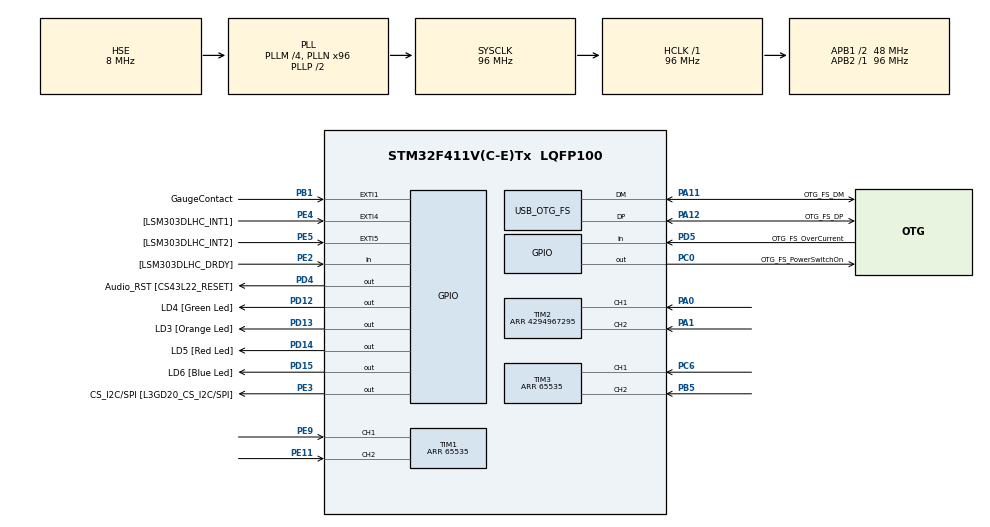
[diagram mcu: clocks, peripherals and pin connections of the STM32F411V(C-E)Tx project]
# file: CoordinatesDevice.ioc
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Mcu.Family=STM32F4
Mcu.Name=STM32F411V(C-E)Tx
Mcu.Package=LQFP100
NVIC.EXTI1_IRQn=true\:0\:0\:false\:false\:true
NVIC.OTG_FS_IRQn=true\:0\:0\:false\:false\:true
NVIC.PriorityGroup=NVIC_PRIORITYGROUP_4
NVIC.TIM1_UP_TIM10_IRQn=true\:0\:0\:false\:false\:true
PA0-WKUP.Signal=S_TIM2_CH1_ETR
PA1.Signal=S_TIM2_CH2
PA10.GPIO_Label=OTG_FS_ID
PA10.Signal=USB_OTG_FS_ID
PA11.GPIO_Label=OTG_FS_DM
PA11.Mode=Device_Only
PA11.Signal=USB_OTG_FS_DM
PA12.GPIO_Label=OTG_FS_DP
PA12.Mode=Device_Only
PA12.Signal=USB_OTG_FS_DP
PA13.GPIO_Label=SWDIO
PA13.Mode=Serial-Wire
PA13.Signal=SYS_JTMS-SWDIO
PA14.GPIO_Label=SWCLK
PA14.Mode=Serial-Wire
PA14.Signal=SYS_JTCK-SWCLK
PA4.GPIO_Label=I2S3_WS [CS43L22_LRCK]
PA4.GPIO_Mode=GPIO_MODE_AF_PP
PA4.GPIO_PuPd=GPIO_NOPULL
PA4.GPIO_Speed=GPIO_SPEED_FREQ_LOW
PA4.Signal=I2S3_WS
PA5.GPIO_Label=SPI1_SCK [L3GD20_SC/SPC]
PA5.Signal=SPI1_SCK
PA6.GPIO_Label=SPI1_MISO [L3GD20_AS0/SDO]
PA6.Signal=SPI1_MISO
PA7.GPIO_Label=SPI1_MOSI [L3GD20_SDA/SDI/SDO]
PA7.Signal=SPI1_MOSI
PA9.GPIO_Label=VBUS_FS
PA9.Signal=USB_OTG_FS_VBUS
PB1.GPIO_Label=GaugeContact
PB1.GPIO_ModeDefaultEXTI=GPIO_MODE_IT_RISING_FALLING
PB1.GPIO_PuPd=GPIO_PULLDOWN
PB1.Signal=GPXTI1
PB10.GPIO_Label=CLK_IN [MP45DT02_CLK]
PB10.Signal=I2S2_CK
PB12.Signal=I2S2_WS
PB3.GPIO_Label=SWO
PB3.Signal=SYS_JTDO-SWO
PB5.Signal=S_TIM3_CH2
PB6.GPIO_Label=Audio_SCL [CS43L22_SCL]
PB6.GPIO_Mode=GPIO_MODE_AF_OD
PB6.GPIO_PuPd=GPIO_NOPULL
PB6.GPIO_Speed=GPIO_SPEED_FREQ_LOW
PB6.Signal=I2C1_SCL
PB9.GPIO_Label=Audio_SDA [CS43L22_SDA]
PB9.GPIO_Mode=GPIO_MODE_AF_OD
PB9.GPIO_PuPd=GPIO_NOPULL
PB9.GPIO_Speed=GPIO_SPEED_FREQ_LOW
PB9.Signal=I2C1_SDA
PC0.GPIO_Label=OTG_FS_PowerSwitchOn
PC0.Signal=GPIO_Output
PC10.GPIO_Label=I2S3_SCK [CS43L22_SCLK]
PC10.GPIO_Mode=GPIO_MODE_AF_PP
PC10.GPIO_PuPd=GPIO_NOPULL
PC10.GPIO_Speed=GPIO_SPEED_FREQ_LOW
PC10.Signal=I2S3_CK
PC12.GPIO_Label=I2S3_SD [CS43L22_SDIN]
PC12.GPIO_Mode=GPIO_MODE_AF_PP
PC12.GPIO_PuPd=GPIO_NOPULL
PC12.GPIO_Speed=GPIO_SPEED_FREQ_LOW
PC12.Signal=I2S3_SD
PC14-OSC32_IN.GPIO_Label=PC14-OSC32_IN
PC14-OSC32_IN.Signal=RCC_OSC32_IN
PC15-OSC32_OUT.GPIO_Label=PC15-OSC32_OUT
PC15-OSC32_OUT.Signal=RCC_OSC32_OUT
PC3.GPIO_Label=PDM_OUT [MP45DT02_DOUT]
PC3.Signal=I2S2_SD
PC6.Signal=S_TIM3_CH1
PC7.GPIO_Label=I2S3_MCK [CS43L22_MCLK]
PC7.GPIO_Mode=GPIO_MODE_AF_PP
PC7.GPIO_PuPd=GPIO_NOPULL
PC7.GPIO_Speed=GPIO_SPEED_FREQ_LOW
PC7.Signal=I2S3_MCK
PD12.GPIO_Label=LD4 [Green Led]
PD12.GPIO_PuPd=GPIO_NOPULL
PD12.GPIO_Speed=GPIO_SPEED_FREQ_LOW
PD12.Signal=GPIO_Output
PD13.GPIO_Label=LD3 [Orange Led]
PD13.GPIO_PuPd=GPIO_NOPULL
PD13.GPIO_Speed=GPIO_SPEED_FREQ_LOW
PD13.Signal=GPIO_Output
PD14.GPIO_Label=LD5 [Red Led]
PD14.GPIO_PuPd=GPIO_NOPULL
PD14.GPIO_Speed=GPIO_SPEED_FREQ_LOW
PD14.Signal=GPIO_Output
PD15.GPIO_Label=LD6 [Blue Led]
PD15.GPIO_PuPd=GPIO_NOPULL
PD15.GPIO_Speed=GPIO_SPEED_FREQ_LOW
PD15.Signal=GPIO_Output
PD4.GPIO_Label=Audio_RST [CS43L22_RESET]
PD4.Signal=GPIO_Output
PD5.GPIO_Label=OTG_FS_OverCurrent
PD5.Signal=GPIO_Input
PE11.Signal=S_TIM1_CH2
PE2.GPIO_Label=[LSM303DLHC_DRDY]
PE2.Signal=GPIO_Input
PE3.GPIO_Label=CS_I2C/SPI [L3GD20_CS_I2C/SPI]
PE3.Signal=GPIO_Output
PE4.GPIO_Label=[LSM303DLHC_INT1]
PE4.GPIO_ModeDefaultEXTI=GPIO_MODE_EVT_RISING
PE4.Signal=GPXTI4
PE5.GPIO_Label=[LSM303DLHC_INT2]
PE5.GPIO_ModeDefaultEXTI=GPIO_MODE_EVT_RISING
PE5.Signal=GPXTI5
PE9.Signal=S_TIM1_CH1
PH0\ -\ OSC_IN.GPIO_Label=PH0-OSC_IN
PH0\ -\ OSC_IN.Mode=HSE-External-Oscillator
PH0\ -\ OSC_IN.Signal=RCC_OSC_IN
PH1\ -\ OSC_OUT.GPIO_Label=PH1-OSC_OUT
PH1\ -\ OSC_OUT.Mode=HSE-External-Oscillator
PH1\ -\ OSC_OUT.Signal=RCC_OSC_OUT
ProjectManager.HeapSize=0x200
ProjectManager.StackSize=0x400
ProjectManager.TargetToolchain=SW4STM32
RCC.48MHZClocksFreq_Value=48000000
RCC.AHBFreq_Value=96000000
RCC.APB1CLKDivider=RCC_HCLK_DIV2
RCC.APB1Freq_Value=48000000
RCC.APB1TimFreq_Value=96000000
RCC.APB2Freq_Value=96000000
RCC.APB2TimFreq_Value=96000000
RCC.CortexFreq_Value=96000000
RCC.HCLKFreq_Value=96000000
RCC.HSE_VALUE=8000000
RCC.HSI_VALUE=16000000
RCC.LSE_VALUE=32768
RCC.PLLI2SM=5
RCC.PLLI2SN=200
RCC.PLLM=4
RCC.PLLN=96
RCC.SYSCLKFreq_VALUE=96000000
RCC.SYSCLKSource=RCC_SYSCLKSOURCE_PLLCLK
RCC.VCOOutputFreq_Value=192000000
SH.S_TIM1_CH1.0=TIM1_CH1,Encoder_Interface
SH.S_TIM1_CH2.0=TIM1_CH2,Encoder_Interface
SH.S_TIM2_CH1_ETR.0=TIM2_CH1,Encoder_Interface
SH.S_TIM2_CH2.0=TIM2_CH2,Encoder_Interface
SH.S_TIM3_CH1.0=TIM3_CH1,Encoder_Interface
SH.S_TIM3_CH2.0=TIM3_CH2,Encoder_Interface
TIM1.EncoderMode=TIM_ENCODERMODE_TI12
TIM1.IC1Polarity=TIM_ICPOLARITY_RISING
TIM1.IC2Polarity=TIM_ICPOLARITY_RISING
TIM1.Period=65535
TIM10.Period=39
TIM10.Prescaler=48000
TIM2.EncoderMode=TIM_ENCODERMODE_TI12
TIM2.IC1Polarity=TIM_ICPOLARITY_RISING
TIM2.IC2Polarity=TIM_ICPOLARITY_RISING
TIM2.Period=4294967295
TIM3.EncoderMode=TIM_ENCODERMODE_TI12
TIM3.IC1Polarity=TIM_ICPOLARITY_RISING
TIM3.IC2Polarity=TIM_ICPOLARITY_RISING
TIM3.Period=65535
USB_DEVICE.CLASS_NAME_FS=CDC
USB_DEVICE.USBD_HandleTypeDef=hUsbDeviceFS
USB_DEVICE.VirtualMode=Cdc
USB_DEVICE.VirtualModeFS=Cdc_FS
USB_OTG_FS.VirtualMode=Device_Only
VP_TIM10_VS_ClockSourceINT.Mode=Enable_Timer
VP_USB_DEVICE_VS_USB_DEVICE_CDC_FS.Mode=CDC_FS
board=STM32F411E-DISCO

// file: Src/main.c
/**
  ******************************************************************************
  * File Name          : main.c
  * Description        : Main program body
  ******************************************************************************
  *
  * COPYRIGHT(c) 2016 STMicroelectronics
  *
  * Redistribution and use in source and binary forms, with or without modification,
  * are permitted provided that the following conditions are met:
  *   1. Redistributions of source code must retain the above copyright notice,
  *      this list of conditions and the following disclaimer.
  *   2. Redistributions in binary form must reproduce the above copyright notice,
  *      this list of conditions and the following disclaimer in the documentation
  *      and/or other materials provided with the distribution.
  *   3. Neither the name of STMicroelectronics nor the names of its contributors
  *      may be used to endorse or promote products derived from this software
  *      without specific prior written permission.
  *
  * THIS SOFTWARE IS PROVIDED BY THE COPYRIGHT HOLDERS AND CONTRIBUTORS "AS IS"
  * AND ANY EXPRESS OR IMPLIED WARRANTIES, INCLUDING, BUT NOT LIMITED TO, THE
  * IMPLIED WARRANTIES OF MERCHANTABILITY AND FITNESS FOR A PARTICULAR PURPOSE ARE
  * DISCLAIMED. IN NO EVENT SHALL THE COPYRIGHT HOLDER OR CONTRIBUTORS BE LIABLE
  * FOR ANY DIRECT, INDIRECT, INCIDENTAL, SPECIAL, EXEMPLARY, OR CONSEQUENTIAL
  * DAMAGES (INCLUDING, BUT NOT LIMITED TO, PROCUREMENT OF SUBSTITUTE GOODS OR
  * SERVICES; LOSS OF USE, DATA, OR PROFITS; OR BUSINESS INTERRUPTION) HOWEVER
  * CAUSED AND ON ANY THEORY OF LIABILITY, WHETHER IN CONTRACT, STRICT LIABILITY,
  * OR TORT (INCLUDING NEGLIGENCE OR OTHERWISE) ARISING IN ANY WAY OUT OF THE USE
  * OF THIS SOFTWARE, EVEN IF ADVISED OF THE POSSIBILITY OF SUCH DAMAGE.
  *
  ******************************************************************************
  */
#include "stm32f4xx_hal.h"
#include "usb_device.h"

/* USER CODE BEGIN Includes */
typedef enum {FALSE = 0, TRUE = 1} bool;
/* USER CODE END Includes */

TIM_HandleTypeDef htim1;
TIM_HandleTypeDef htim2;
TIM_HandleTypeDef htim3;
TIM_HandleTypeDef htim10;

/* USER CODE BEGIN PV */
/* Private variables ---------------------------------------------------------*/
char msg[50];
bool dataFormed = FALSE;
volatile bool gaugeContact = FALSE;
/* USER CODE END PV */

void SystemClock_Config(void);
static void MX_GPIO_Init(void);
static void MX_TIM1_Init(void);
static void MX_TIM2_Init(void);
static void MX_TIM3_Init(void);
static void MX_TIM10_Init(void);

/* USER CODE BEGIN PFP */
/* Private function prototypes -----------------------------------------------*/
/* USER CODE END PFP */

int main(void)
{

  /* MCU Configuration----------------------------------------------------------*/

  /* Reset of all peripherals, Initializes the Flash interface and the Systick. */
  HAL_Init();

  /* Configure the system clock */
  SystemClock_Config();

  /* Initialize all configured peripherals */
  MX_GPIO_Init();
  MX_TIM1_Init();
  MX_TIM2_Init();
  MX_TIM3_Init();
  MX_USB_DEVICE_Init();
  MX_TIM10_Init();

  /* USER CODE BEGIN 2 */
  HAL_TIM_Base_Start_IT(&htim10);
  HAL_TIM_Encoder_Start(&htim1, TIM_CHANNEL_ALL);
  HAL_TIM_Encoder_Start(&htim2, TIM_CHANNEL_ALL);
  HAL_TIM_Encoder_Start(&htim3, TIM_CHANNEL_ALL);
  /* USER CODE END 2 */

  /* Infinite loop */
  while (1)
  {

  }

}

/** System Clock Configuration
*/
void SystemClock_Config(void)
{

  RCC_OscInitTypeDef RCC_OscInitStruct;
  RCC_ClkInitTypeDef RCC_ClkInitStruct;

  __HAL_RCC_PWR_CLK_ENABLE();

  __HAL_PWR_VOLTAGESCALING_CONFIG(PWR_REGULATOR_VOLTAGE_SCALE1);

  RCC_OscInitStruct.OscillatorType = RCC_OSCILLATORTYPE_HSE;
  RCC_OscInitStruct.HSEState = RCC_HSE_ON;
  RCC_OscInitStruct.PLL.PLLState = RCC_PLL_ON;
  RCC_OscInitStruct.PLL.PLLSource = RCC_PLLSOURCE_HSE;
  RCC_OscInitStruct.PLL.PLLM = 4;
  RCC_OscInitStruct.PLL.PLLN = 96;
  RCC_OscInitStruct.PLL.PLLP = RCC_PLLP_DIV2;
  RCC_OscInitStruct.PLL.PLLQ = 4;
  HAL_RCC_OscConfig(&RCC_OscInitStruct);

  RCC_ClkInitStruct.ClockType = RCC_CLOCKTYPE_HCLK|RCC_CLOCKTYPE_SYSCLK
                              |RCC_CLOCKTYPE_PCLK1|RCC_CLOCKTYPE_PCLK2;
  RCC_ClkInitStruct.SYSCLKSource = RCC_SYSCLKSOURCE_PLLCLK;
  RCC_ClkInitStruct.AHBCLKDivider = RCC_SYSCLK_DIV1;
  RCC_ClkInitStruct.APB1CLKDivider = RCC_HCLK_DIV2;
  RCC_ClkInitStruct.APB2CLKDivider = RCC_HCLK_DIV1;
  HAL_RCC_ClockConfig(&RCC_ClkInitStruct, FLASH_LATENCY_3);

  HAL_SYSTICK_Config(HAL_RCC_GetHCLKFreq()/1000);

  HAL_SYSTICK_CLKSourceConfig(SYSTICK_CLKSOURCE_HCLK);

  /* SysTick_IRQn interrupt configuration */
  HAL_NVIC_SetPriority(SysTick_IRQn, 0, 0);
}

/* TIM1 init function */
void MX_TIM1_Init(void)
{

  TIM_Encoder_InitTypeDef sConfig;
  TIM_MasterConfigTypeDef sMasterConfig;

  htim1.Instance = TIM1;
  htim1.Init.Prescaler = 0;
  htim1.Init.CounterMode = TIM_COUNTERMODE_UP;
  htim1.Init.Period = 65535;
  htim1.Init.ClockDivision = TIM_CLOCKDIVISION_DIV1;
  htim1.Init.RepetitionCounter = 0;
  sConfig.EncoderMode = TIM_ENCODERMODE_TI12;
  sConfig.IC1Polarity = TIM_ICPOLARITY_RISING;
  sConfig.IC1Selection = TIM_ICSELECTION_DIRECTTI;
  sConfig.IC1Prescaler = TIM_ICPSC_DIV1;
  sConfig.IC1Filter = 0;
  sConfig.IC2Polarity = TIM_ICPOLARITY_RISING;
  sConfig.IC2Selection = TIM_ICSELECTION_DIRECTTI;
  sConfig.IC2Prescaler = TIM_ICPSC_DIV1;
  sConfig.IC2Filter = 0;
  HAL_TIM_Encoder_Init(&htim1, &sConfig);

  sMasterConfig.MasterOutputTrigger = TIM_TRGO_RESET;
  sMasterConfig.MasterSlaveMode = TIM_MASTERSLAVEMODE_DISABLE;
  HAL_TIMEx_MasterConfigSynchronization(&htim1, &sMasterConfig);

}

/* TIM2 init function */
void MX_TIM2_Init(void)
{

  TIM_Encoder_InitTypeDef sConfig;
  TIM_MasterConfigTypeDef sMasterConfig;

  htim2.Instance = TIM2;
  htim2.Init.Prescaler = 0;
  htim2.Init.CounterMode = TIM_COUNTERMODE_UP;
  htim2.Init.Period = 4294967295;
  htim2.Init.ClockDivision = TIM_CLOCKDIVISION_DIV1;
  sConfig.EncoderMode = TIM_ENCODERMODE_TI12;
  sConfig.IC1Polarity = TIM_ICPOLARITY_RISING;
  sConfig.IC1Selection = TIM_ICSELECTION_DIRECTTI;
  sConfig.IC1Prescaler = TIM_ICPSC_DIV1;
  sConfig.IC1Filter = 0;
  sConfig.IC2Polarity = TIM_ICPOLARITY_RISING;
  sConfig.IC2Selection = TIM_ICSELECTION_DIRECTTI;
  sConfig.IC2Prescaler = TIM_ICPSC_DIV1;
  sConfig.IC2Filter = 0;
  HAL_TIM_Encoder_Init(&htim2, &sConfig);

  sMasterConfig.MasterOutputTrigger = TIM_TRGO_RESET;
  sMasterConfig.MasterSlaveMode = TIM_MASTERSLAVEMODE_DISABLE;
  HAL_TIMEx_MasterConfigSynchronization(&htim2, &sMasterConfig);

}

/* TIM3 init function */
void MX_TIM3_Init(void)
{

  TIM_Encoder_InitTypeDef sConfig;
  TIM_MasterConfigTypeDef sMasterConfig;

  htim3.Instance = TIM3;
  htim3.Init.Prescaler = 0;
  htim3.Init.CounterMode = TIM_COUNTERMODE_UP;
  htim3.Init.Period = 65535;
  htim3.Init.ClockDivision = TIM_CLOCKDIVISION_DIV1;
  sConfig.EncoderMode = TIM_ENCODERMODE_TI12;
  sConfig.IC1Polarity = TIM_ICPOLARITY_RISING;
  sConfig.IC1Selection = TIM_ICSELECTION_DIRECTTI;
  sConfig.IC1Prescaler = TIM_ICPSC_DIV1;
  sConfig.IC1Filter = 0;
  sConfig.IC2Polarity = TIM_ICPOLARITY_RISING;
  sConfig.IC2Selection = TIM_ICSELECTION_DIRECTTI;
  sConfig.IC2Prescaler = TIM_ICPSC_DIV1;
  sConfig.IC2Filter = 0;
  HAL_TIM_Encoder_Init(&htim3, &sConfig);

  sMasterConfig.MasterOutputTrigger = TIM_TRGO_RESET;
  sMasterConfig.MasterSlaveMode = TIM_MASTERSLAVEMODE_DISABLE;
  HAL_TIMEx_MasterConfigSynchronization(&htim3, &sMasterConfig);

}

/* TIM10 init function */
void MX_TIM10_Init(void)
{

  htim10.Instance = TIM10;
  htim10.Init.Prescaler = 48000;
  htim10.Init.CounterMode = TIM_COUNTERMODE_UP;
  htim10.Init.Period = 39;
  htim10.Init.ClockDivision = TIM_CLOCKDIVISION_DIV1;
  HAL_TIM_Base_Init(&htim10);

}

/** Configure pins as
        * Analog
        * Input
        * Output
        * EVENT_OUT
        * EXTI
     PC3   ------> I2S2_SD
     PA4   ------> I2S3_WS
     PA5   ------> SPI1_SCK
     PA6   ------> SPI1_MISO
     PA7   ------> SPI1_MOSI
     PB10   ------> I2S2_CK
     PB12   ------> I2S2_WS
     PC7   ------> I2S3_MCK
     PC10   ------> I2S3_CK
     PC12   ------> I2S3_SD
     PB6   ------> I2C1_SCL
     PB9   ------> I2C1_SDA
*/
void MX_GPIO_Init(void)
{

  GPIO_InitTypeDef GPIO_InitStruct;

  /* GPIO Ports Clock Enable */
  __HAL_RCC_GPIOE_CLK_ENABLE();
  __HAL_RCC_GPIOC_CLK_ENABLE();
  __HAL_RCC_GPIOH_CLK_ENABLE();
  __HAL_RCC_GPIOA_CLK_ENABLE();
  __HAL_RCC_GPIOB_CLK_ENABLE();
  __HAL_RCC_GPIOD_CLK_ENABLE();

  /*Configure GPIO pin : PE2 */
  GPIO_InitStruct.Pin = GPIO_PIN_2;
  GPIO_InitStruct.Mode = GPIO_MODE_INPUT;
  GPIO_InitStruct.Pull = GPIO_NOPULL;
  HAL_GPIO_Init(GPIOE, &GPIO_InitStruct);

  /*Configure GPIO pin : CS_I2C_SPI_Pin */
  GPIO_InitStruct.Pin = CS_I2C_SPI_Pin;
  GPIO_InitStruct.Mode = GPIO_MODE_OUTPUT_PP;
  GPIO_InitStruct.Pull = GPIO_NOPULL;
  GPIO_InitStruct.Speed = GPIO_SPEED_FREQ_LOW;
  HAL_GPIO_Init(CS_I2C_SPI_GPIO_Port, &GPIO_InitStruct);

  /*Configure GPIO pins : PE4 PE5 */
  GPIO_InitStruct.Pin = GPIO_PIN_4|GPIO_PIN_5;
  GPIO_InitStruct.Mode = GPIO_MODE_EVT_RISING;
  GPIO_InitStruct.Pull = GPIO_NOPULL;
  HAL_GPIO_Init(GPIOE, &GPIO_InitStruct);

  /*Configure GPIO pin : OTG_FS_PowerSwitchOn_Pin */
  GPIO_InitStruct.Pin = OTG_FS_PowerSwitchOn_Pin;
  GPIO_InitStruct.Mode = GPIO_MODE_OUTPUT_PP;
  GPIO_InitStruct.Pull = GPIO_NOPULL;
  GPIO_InitStruct.Speed = GPIO_SPEED_FREQ_LOW;
  HAL_GPIO_Init(OTG_FS_PowerSwitchOn_GPIO_Port, &GPIO_InitStruct);

  /*Configure GPIO pin : PDM_OUT_Pin */
  GPIO_InitStruct.Pin = PDM_OUT_Pin;
  GPIO_InitStruct.Mode = GPIO_MODE_AF_PP;
  GPIO_InitStruct.Pull = GPIO_NOPULL;
  GPIO_InitStruct.Speed = GPIO_SPEED_FREQ_LOW;
  GPIO_InitStruct.Alternate = GPIO_AF5_SPI2;
  HAL_GPIO_Init(PDM_OUT_GPIO_Port, &GPIO_InitStruct);

  /*Configure GPIO pin : PA4 */
  GPIO_InitStruct.Pin = GPIO_PIN_4;
  GPIO_InitStruct.Mode = GPIO_MODE_AF_PP;
  GPIO_InitStruct.Pull = GPIO_NOPULL;
  GPIO_InitStruct.Speed = GPIO_SPEED_FREQ_LOW;
  GPIO_InitStruct.Alternate = GPIO_AF6_SPI3;
  HAL_GPIO_Init(GPIOA, &GPIO_InitStruct);

  /*Configure GPIO pins : PA5 PA6 PA7 */
  GPIO_InitStruct.Pin = GPIO_PIN_5|GPIO_PIN_6|GPIO_PIN_7;
  GPIO_InitStruct.Mode = GPIO_MODE_AF_PP;
  GPIO_InitStruct.Pull = GPIO_NOPULL;
  GPIO_InitStruct.Speed = GPIO_SPEED_FREQ_VERY_HIGH;
  GPIO_InitStruct.Alternate = GPIO_AF5_SPI1;
  HAL_GPIO_Init(GPIOA, &GPIO_InitStruct);

  /*Configure GPIO pin : GaugeContact_Pin */
  GPIO_InitStruct.Pin = GaugeContact_Pin;
  GPIO_InitStruct.Mode = GPIO_MODE_IT_RISING_FALLING;
  GPIO_InitStruct.Pull = GPIO_PULLDOWN;
  HAL_GPIO_Init(GaugeContact_GPIO_Port, &GPIO_InitStruct);

  /*Configure GPIO pins : CLK_IN_Pin PB12 */
  GPIO_InitStruct.Pin = CLK_IN_Pin|GPIO_PIN_12;
  GPIO_InitStruct.Mode = GPIO_MODE_AF_PP;
  GPIO_InitStruct.Pull = GPIO_NOPULL;
  GPIO_InitStruct.Speed = GPIO_SPEED_FREQ_LOW;
  GPIO_InitStruct.Alternate = GPIO_AF5_SPI2;
  HAL_GPIO_Init(GPIOB, &GPIO_InitStruct);

  /*Configure GPIO pins : LD4_Pin LD3_Pin LD5_Pin LD6_Pin
                           Audio_RST_Pin */
  GPIO_InitStruct.Pin = LD4_Pin|LD3_Pin|LD5_Pin|LD6_Pin
                          |Audio_RST_Pin;
  GPIO_InitStruct.Mode = GPIO_MODE_OUTPUT_PP;
  GPIO_InitStruct.Pull = GPIO_NOPULL;
  GPIO_InitStruct.Speed = GPIO_SPEED_FREQ_LOW;
  HAL_GPIO_Init(GPIOD, &GPIO_InitStruct);

  /*Configure GPIO pins : PC7 I2S3_SCK_Pin PC12 */
  GPIO_InitStruct.Pin = GPIO_PIN_7|I2S3_SCK_Pin|GPIO_PIN_12;
  GPIO_InitStruct.Mode = GPIO_MODE_AF_PP;
  GPIO_InitStruct.Pull = GPIO_NOPULL;
  GPIO_InitStruct.Speed = GPIO_SPEED_FREQ_LOW;
  GPIO_InitStruct.Alternate = GPIO_AF6_SPI3;
  HAL_GPIO_Init(GPIOC, &GPIO_InitStruct);

  /*Configure GPIO pin : OTG_FS_OverCurrent_Pin */
  GPIO_InitStruct.Pin = OTG_FS_OverCurrent_Pin;
  GPIO_InitStruct.Mode = GPIO_MODE_INPUT;
  GPIO_InitStruct.Pull = GPIO_NOPULL;
  HAL_GPIO_Init(OTG_FS_OverCurrent_GPIO_Port, &GPIO_InitStruct);

  /*Configure GPIO pins : Audio_SCL_Pin Audio_SDA_Pin */
  GPIO_InitStruct.Pin = Audio_SCL_Pin|Audio_SDA_Pin;
  GPIO_InitStruct.Mode = GPIO_MODE_AF_OD;
  GPIO_InitStruct.Pull = GPIO_PULLUP;
  GPIO_InitStruct.Speed = GPIO_SPEED_FREQ_LOW;
  GPIO_InitStruct.Alternate = GPIO_AF4_I2C1;
  HAL_GPIO_Init(GPIOB, &GPIO_InitStruct);

  /*Configure GPIO pin Output Level */
  HAL_GPIO_WritePin(CS_I2C_SPI_GPIO_Port, CS_I2C_SPI_Pin, GPIO_PIN_RESET);

  /*Configure GPIO pin Output Level */
  HAL_GPIO_WritePin(OTG_FS_PowerSwitchOn_GPIO_Port, OTG_FS_PowerSwitchOn_Pin, GPIO_PIN_RESET);

  /*Configure GPIO pin Output Level */
  HAL_GPIO_WritePin(GPIOD, LD4_Pin|LD3_Pin|LD5_Pin|LD6_Pin
                          |Audio_RST_Pin, GPIO_PIN_RESET);

  /* EXTI interrupt init*/
  HAL_NVIC_SetPriority(EXTI1_IRQn, 0, 0);
  HAL_NVIC_EnableIRQ(EXTI1_IRQn);

}

/* USER CODE BEGIN 4 */

volatile int16_t previousCNT1;
volatile int baseCNT1;

volatile int16_t previousCNT3;
volatile int baseCNT3;

const int16_t negativeTreshold = -30000;
const int16_t positiveTreshold = 30000;

const int intMax = 65536;
const int stepsPerMicrometre = 1;

int Convert_To_Micrometres(volatile int *cnt) {

	return *cnt / stepsPerMicrometre;
}

void Modify(volatile int16_t *previousCNT, volatile int16_t *timcnt, volatile int *baseCNT, volatile int *newTim) {

	if (*previousCNT > positiveTreshold && *timcnt < 0) {
		*baseCNT += intMax;
	}
	else if (*previousCNT < negativeTreshold && *timcnt > 0) {
		*baseCNT -= intMax;
	}

	if (*baseCNT != 0) {
		*newTim = *timcnt + *baseCNT;
	}
	else {
		*newTim = *timcnt;
	}

	*previousCNT = *timcnt;
}

void Form_Data_To_Send(bool gauge) {

	volatile int16_t tim1cnt = TIM1->CNT;
	volatile int16_t tim3cnt = TIM3->CNT;
	volatile int tim2cnt = TIM2->CNT;

	volatile int newTim1;
	volatile int newTim3;

	Modify(&previousCNT1, &tim1cnt, &baseCNT1, &newTim1);
	Modify(&previousCNT3, &tim3cnt, &baseCNT3, &newTim3);

	volatile int tim1um = Convert_To_Micrometres(&newTim1);
	volatile int tim2um = Convert_To_Micrometres(&tim2cnt);
	volatile int tim3um = Convert_To_Micrometres(&newTim3);

	gaugeContact = gauge;

	sprintf(msg, "X%-11d;%-11d;%-11d;%-1d", tim1um, tim2um, tim3um, gaugeContact);

	dataFormed = TRUE;
}

// TODO remember to change NVIC setup, so given callback function is top prio
void HAL_TIM_PeriodElapsedCallback(TIM_HandleTypeDef *htim) {

	// race condition caused by priorities in NVIC:
	if (!dataFormed) {
		bool gauge = HAL_GPIO_ReadPin(GPIOB, GaugeContact_Pin) ? 0 : 1;
		Form_Data_To_Send(gauge);
	}

	int sLength = strlen(msg);
	MX_USB_DEVICE_SENT_DATA((uint8_t *) msg, sLength);
	dataFormed = FALSE;
}

void HAL_GPIO_EXTI_Callback(uint16_t GPIO_Pin) {

	if (!dataFormed) {
		bool gauge = HAL_GPIO_ReadPin(GPIOB, GaugeContact_Pin) ? 0 : 1;
		Form_Data_To_Send(gauge);
	}
}
/* USER CODE END 4 */

/************************ (C) COPYRIGHT STMicroelectronics *****END OF FILE****/
